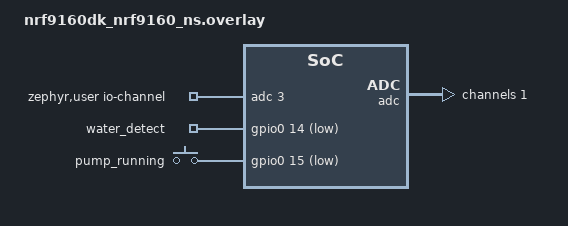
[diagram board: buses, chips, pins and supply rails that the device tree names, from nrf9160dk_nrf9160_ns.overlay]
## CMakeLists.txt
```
cmake_minimum_required(VERSION 3.20.0)
find_package(Zephyr REQUIRED HINTS $ENV{ZEPHYR_BASE})

project(ws-zephyr)

add_subdirectory(src)
```

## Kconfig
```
menu "Zephyr Kernel"
  source "Kconfig.zephyr"
  rsource "src/Kconfig"
endmenu
```

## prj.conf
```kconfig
CONFIG_PSS_NRF_LTE_LOG_LEVEL_DBG=y
CONFIG_PSS_MQTT_HOST="a2p0gdf34vn364-ats.iot.us-east-2.amazonaws.com"
# CONFIG_BATTERY_LOG_LEVEL_DBG=y

CONFIG_USERSPACE=n
CONFIG_MAIN_STACK_SIZE=16384
CONFIG_SYSTEM_WORKQUEUE_STACK_SIZE=2048

CONFIG_ADC=y
CONFIG_BATTERY_LIB=y
CONFIG_BATTERY_LIB_DIV_R2=1000
CONFIG_BATTERY_LIB_DIV_R1=7500
CONFIG_BATTERY_LIB_MAX_VOLTAGE=14500
CONFIG_BATTERY_LIB_LOW_VOLTAGE=12500
CONFIG_BATTERY_LIB_MIN_OPERATING_VOLTAGE=11500
CONFIG_BATTERY_LIB_VOTLAGE_DROP=10

CONFIG_LOG=y
CONFIG_LOG_MODE_IMMEDIATE=y

CONFIG_PSS_NRF_LTE_CONNECTION_STATISTICS=y

# Network
CONFIG_NETWORKING=y
CONFIG_NET_NATIVE=n
CONFIG_NET_IPV4=y
CONFIG_NET_TCP=y
CONFIG_NET_SOCKETS=y
CONFIG_NET_SOCKETS_OFFLOAD=y
CONFIG_NET_SOCKETS_POSIX_NAMES=y
CONFIG_PSS_NRF_LTE=y
CONFIG_NET_CONNECTION_MANAGER=y
CONFIG_POSIX_API=n
#CONFIG_PTHREAD_IPC=n # There are issues with posix api if this is set
CONFIG_POSIX_MAX_FDS=10
# Need to be the same as MAX_FDS
CONFIG_NET_SOCKETS_POLL_MAX=10

# Modem/LTE Link
CONFIG_NRF_MODEM_LIB=y
CONFIG_LTE_LINK_CONTROL=y
CONFIG_LTE_NETWORK_MODE_LTE_M=y
CONFIG_NRF_MODEM_LIB_SHMEM_TX_SIZE=22528
CONFIG_NRF_MODEM_LIB_SHMEM_RX_SIZE=8192
CONFIG_MODEM_KEY_MGMT=y

# Date-time from LTE configuration
CONFIG_DATE_TIME=y
CONFIG_DATE_TIME_AUTO_UPDATE=y
CONFIG_DATE_TIME_MODEM=y
CONFIG_DATE_TIME_NTP=y

CONFIG_NEWLIB_LIBC=y
CONFIG_NEWLIB_LIBC_FLOAT_PRINTF=y
CONFIG_NEWLIB_LIBC_FLOAT_SCANF=y
CONFIG_FPU=y

# Packet Domain Network (PDN) library
CONFIG_PDN=y
CONFIG_PDN_ESM_STRERROR=y

# Identification, set for IMEI
CONFIG_HW_ID_LIBRARY=y
CONFIG_HW_ID_LIBRARY_SOURCE_IMEI=y

# MQTT
CONFIG_MQTT_LIB=y
CONFIG_MQTT_LIB_TLS=y
CONFIG_MQTT_CLEAN_SESSION=y
CONFIG_MQTT_KEEPALIVE=3600
CONFIG_MY_MQTT_HELPER=y
CONFIG_MY_MQTT_HELPER_SEC_TAG=955
CONFIG_MY_MQTT_HELPER_RX_TX_BUFFER_SIZE=4096
CONFIG_MY_MQTT_HELPER_PAYLOAD_BUFFER_LEN=4096
CONFIG_MY_MQTT_HELPER_STACK_SIZE=4096

# CONFIG_THREAD_ANALYZER=y
# CONFIG_THREAD_ANALYZER_AUTO=y
# CONFIG_THREAD_NAME=y
# CONFIG_THREAD_ANALYZER_AUTO_INTERVAL=10
```

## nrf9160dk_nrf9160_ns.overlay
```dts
/ {
    zephyr,user {
        io-channels = <&adc 3>;
    };

    triggers {
		compatible = "gpio-keys";

        water_detect: water_detect {
			gpios = <&gpio0 14 ( GPIO_ACTIVE_LOW )>;
		};

        pump_running: pump_running {
			gpios = <&gpio0 15 (GPIO_ACTIVE_LOW | GPIO_PULL_UP)>;
			zephyr,code = <INPUT_KEY_0>;
		};
    };
};

&adc {
    #address-cells = <1>;
    #size-cells = <0>;
    status = "okay";
    channel@1 {
        reg = <1>;
        zephyr,gain = "ADC_GAIN_1_3";
        zephyr,reference = "ADC_REF_INTERNAL";
        zephyr,acquisition-time = <ADC_ACQ_TIME_MAX>;
        zephyr,input-positive = <NRF_SAADC_AIN3>;
        zephyr,resolution = <14>;
        zephyr,oversampling = <8>;
    };
};
```

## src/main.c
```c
#include "battery.h"
#include "scheduler.h"
#include "trigger.h"
#include "pss_nrf_lte.h"
#include "pss_mqtt.h"

#include <zephyr/logging/log.h>
#include <zephyr/kernel.h>
#include <zephyr/devicetree.h>
#include <zephyr/drivers/gpio.h>

#define TEN_SEC_IN_12HOURS (4320)

LOG_MODULE_REGISTER(main, LOG_LEVEL_INF);

static const struct gpio_dt_spec led4 = GPIO_DT_SPEC_GET(DT_NODELABEL(led3), gpios);

static int32_t init_led(void)
{
  int32_t ret;
  if (!gpio_is_ready_dt(&led4))
  {
    return 0;
  }

  ret = gpio_pin_configure_dt(&led4, GPIO_OUTPUT_ACTIVE);
  if (ret < 0)
  {
    return 0;
  }

  gpio_pin_set_dt(&led4, 1);

  return 0;
}

void main_main_blink(void)
{
  gpio_pin_toggle_dt(&led4);
}

void main_hearbeat_pub(void)
{
  battery_info_t batt;
  char batt_v[10];

  battery_get_last_read(&batt);
  snprintf(batt_v, sizeof(batt_v), "%.2f", ((float)batt.lvl_mV / 1000.0f));

  pss_mqtt_publish(
          "homeassistant/sump/availability",
          "online",
          MQTT_QOS_1_AT_LEAST_ONCE);
  pss_mqtt_publish(
      "homeassistant/sump/batt",
      batt_v,
      MQTT_QOS_1_AT_LEAST_ONCE);
}

void main_main_hearbeat(void)
{
  static int32_t loop_cnt = 0;
  battery_info_t batt;
  char batt_v[10];

  battery_get_last_read(&batt);
  snprintf(batt_v, sizeof(batt_v), "%.2f", ((float)batt.lvl_mV / 1000.0f));
  LOG_INF("Battery: %sV", batt_v);

  if (loop_cnt == 0)
  {
    if (pss_mqtt_connected())
    {
      main_hearbeat_pub();
      loop_cnt++;
    }
  }
  else
  {
    loop_cnt++;
    if (loop_cnt > TEN_SEC_IN_12HOURS)
    {
      loop_cnt = 0;
    }
  }
}

int main(void)
{
  init_led();
  battery_init();
  battery_main();

  trigger_init();
  if (pss_nrf_lte_init(NULL))
  {
    LOG_ERR("Could not init LTE");
  }
  pss_mqtt_provision();
  pss_nrf_lte_connect();
  pss_mqtt_init();

  scheduler_init();
}
```

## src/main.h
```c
#ifndef MAIN_H
#define MAIN_H

void main_main_blink(void);
void main_main_hearbeat(void);
void main_hearbeat_pub(void);

#endif // MAIN_H
```
